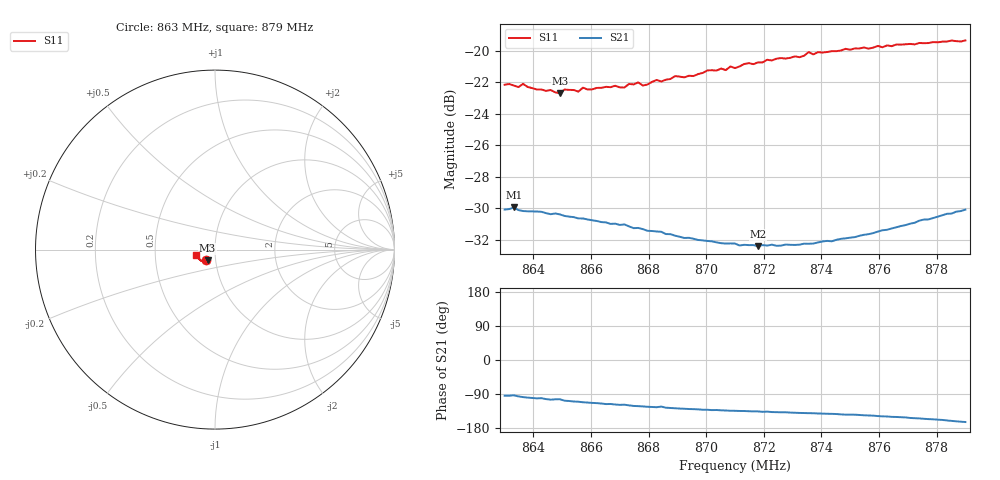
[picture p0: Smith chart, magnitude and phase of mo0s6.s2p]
# HZ S RI R 50
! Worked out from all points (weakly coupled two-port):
!   101 points, 863 MHz to 879 MHz, reference 50 ohm
!   highest |S21| = -29.94 dB at 863.32 MHz (marker M1); lowest = -32.4 dB at 871.8 MHz (marker M2)
!   lowest |S11| = -22.7 dB at 864.92 MHz (marker M3), VSWR 1.16, Z = 45.7 - j5.55 ohm
!   |S11| at or under -10 dB: start of sweep to end of sweep
!   S12 and S22 are empty: the file has one direction only
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8.63e8  -0.0492 -0.0604  -0.00229 -0.0313  0 0  0 0
8.6332e8  -0.0459 -0.0625  -0.00175 -0.0318  0 0  0 0
8.6364e8  -0.05 -0.0605  -0.00428 -0.0307  0 0  0 0
8.6492e8  -0.0415 -0.0604  -0.00709 -0.0294  0 0  0 0
8.6508e8  -0.0447 -0.0606  -0.00896 -0.0286  0 0  0 0
8.6556e8  -0.0439 -0.0597  -0.0101 -0.0276  0 0  0 0
8.6572e8  -0.0448 -0.0617  -0.0108 -0.0273  0 0  0 0
8.6716e8  -0.0457 -0.0612  -0.0132 -0.0248  0 0  0 0
8.6764e8  -0.0465 -0.0642  -0.0144 -0.0233  0 0  0 0
8.678e8  -0.0461 -0.0623  -0.0146 -0.0229  0 0  0 0
8.6828e8  -0.0476 -0.0652  -0.0152 -0.022  0 0  0 0
8.6844e8  -0.0522 -0.0604  -0.0145 -0.0224  0 0  0 0
8.6892e8  -0.0499 -0.0663  -0.0157 -0.0206  0 0  0 0
8.6924e8  -0.0499 -0.0654  -0.0159 -0.0199  0 0  0 0
8.7004e8  -0.0543 -0.0674  -0.0165 -0.0187  0 0  0 0
8.71e8  -0.0573 -0.0668  -0.017 -0.0176  0 0  0 0
8.718e8  -0.0631 -0.0666  -0.0172 -0.0168  0 0  0 0
8.7324e8  -0.0712 -0.0633  -0.0185 -0.0157  0 0  0 0
8.7356e8  -0.0762 -0.063  -0.0188 -0.0156  0 0  0 0
8.7372e8  -0.0741 -0.0629  -0.0189 -0.0156  0 0  0 0
8.7644e8  -0.0915 -0.048  -0.0237 -0.0136  0 0  0 0
8.79e8  -0.1041 -0.0275  -0.0301 -0.00881  0 0  0 0
